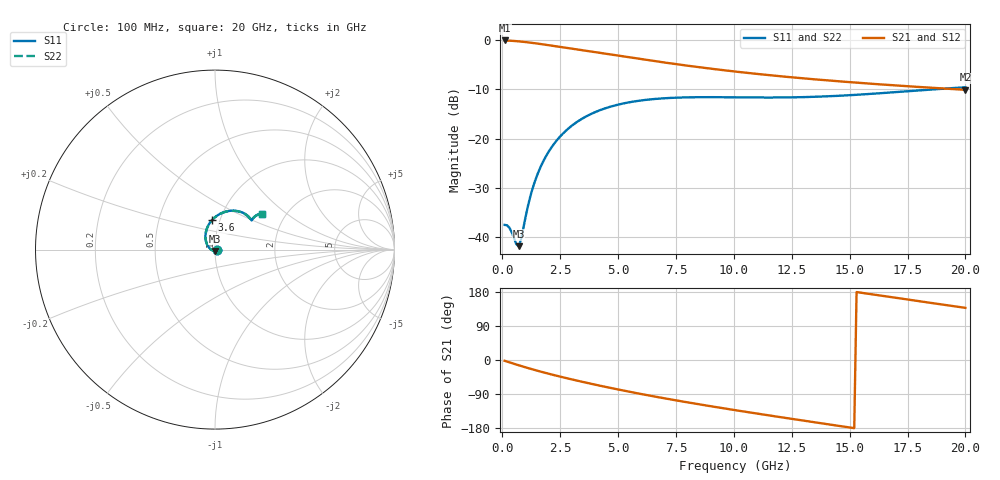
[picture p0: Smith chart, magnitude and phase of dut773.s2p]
! Touchstone file exported from HFSS 2024.1.0
!  File:  C:/UserFiles/LocalFiles/RDL_TSV_Batchsim/temp_RDL_TSV_773_1779903504.aedt
!  Generated:  01:49:27 AM May 28, 2026
!  Design:  RDL_TSV
!  Project:  temp_RDL_TSV_773_1779903504
!  Setup:  Setup1
!  Solution:  Sweep
! Variables:
!  dtsv = 12.58um
!  hbump = 3um
!  htsv = 72.25um
!  ldown = 248.68um
!  lrdl = 623.33um
!  p = 40
!  p1 = 52.08um
!  rhole = 10um
!  subl = 3239.36um
!  t = 450um
!  tdown = 2.45um
!  trdl = 4.14um
!  viad = 10um
!  wdown = 29.21um
!  wrdl = 23.49um
!  xbump = 18um
# GHz S MA R 50.000000
! Terminal data exported
! Port[1] = TM1_1_T1
! Port[2] = TM1_4_T1
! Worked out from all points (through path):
!   200 points, 100 MHz to 20 GHz, reference 50 ohm
!   highest |S21| = -0.12 dB at 100 MHz (marker M1); lowest = -10.1 dB at 20 GHz (marker M2)
!   group delay of S21, straight-line fit = 29.1 ps
!   lowest |S11| = -41.8 dB at 700 MHz (marker M3), VSWR 1.02, Z = 49.9 - j0.8 ohm
!   |S11| at or under -10 dB: start of sweep to 18.74 GHz
!   |S22| runs from -41.8 to -9.6 dB; largest |S21 - S12| = 1.7e-14
!   S11 on the Smith chart (normalised r, x): 100 MHz: 1.03, -0.00; 3.6 GHz: 0.92, +0.31; 20 GHz: 1.53, +0.69
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0.1  0.01333 -4.8  0.9859 -2.1  0.9859 -2.1  0.01333 -4.8
! Gamma 0 0 0 0
! Port Impedance 50 0 50 0
0.3  0.01255 -21.2  0.9814 -6.1  0.9814 -6.1  0.01256 -21.2
0.6  0.00855 -70.2  0.9706 -11.9  0.9706 -11.9  0.008575 -70.0
0.7  0.008114 -98.9  0.9661 -13.7  0.9661 -13.7  0.008127 -98.5
0.8  0.009286 -128.4  0.9612 -15.6  0.9612 -15.6  0.009271 -128.0
1.1  0.02034 -178.3  0.9441 -21.1  0.9441 -21.1  0.02024 -178.1
1.3  0.0307 165.9  0.9314 -24.6  0.9314 -24.6  0.03054 166.1
1.5  0.0422 154.7  0.918 -28.0  0.918 -28.0  0.04199 154.8
1.8  0.06068 141.8  0.8971 -33.0  0.8971 -33.0  0.06038 141.9
2.1  0.07975 131.4  0.8761 -37.8  0.8761 -37.8  0.07937 131.4
2.5  0.105 119.7  0.8482 -43.9  0.8482 -43.9  0.1045 119.7
3  0.1348 107.5  0.8143 -51.2  0.8143 -51.2  0.1341 107.6
3.5  0.1615 97.3  0.7817 -58.2  0.7817 -58.2  0.1608 97.3
3.6  0.1665 95.4  0.7753 -59.6  0.7753 -59.6  0.1657 95.4
5  0.2205 74.0  0.6911 -77.8  0.6911 -77.8  0.2194 74.0
6.8  0.2541 56.0  0.5985 -98.9  0.5985 -98.9  0.2527 56.0
8.4  0.2623 46.2  0.532 -115.9  0.532 -115.9  0.2607 46.2
10.1  0.2615 40.6  0.4761 -132.8  0.4761 -132.8  0.2599 40.6
11.7  0.2604 38.6  0.4348 -147.9  0.4348 -147.9  0.2587 38.8
13.4  0.2644 38.7  0.3997 -163.6  0.3997 -163.6  0.2628 38.9
16.7  0.292 39.6  0.3489 166.7  0.3489 166.7  0.2907 39.8
20  0.3308 37.4  0.3119 137.6  0.3119 137.6  0.3298 37.6
